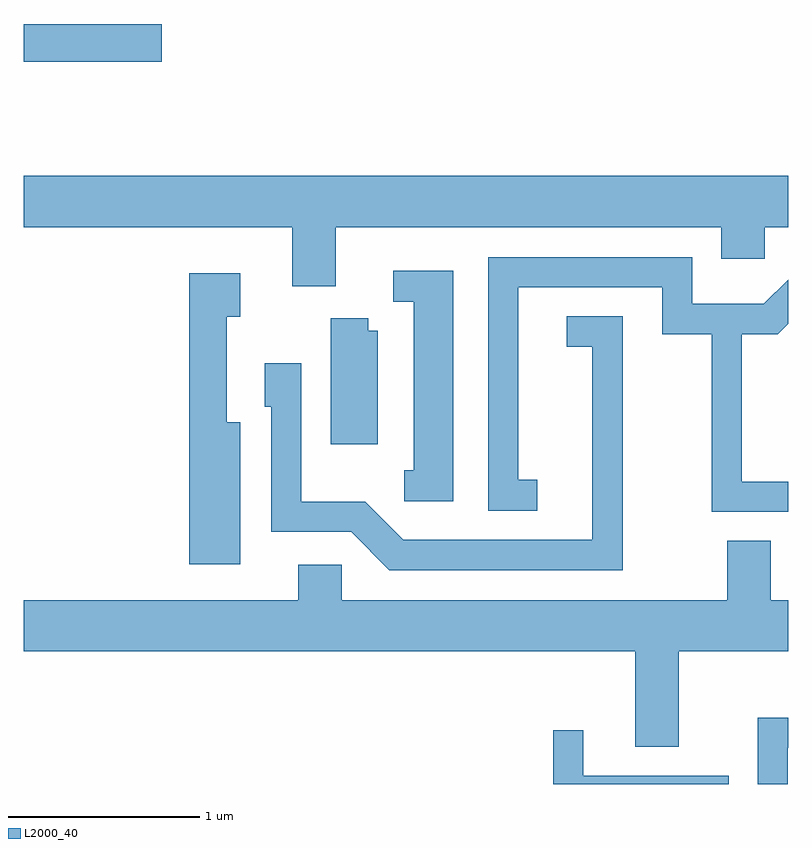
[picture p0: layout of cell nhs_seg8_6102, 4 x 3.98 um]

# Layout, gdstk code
import gdstk
lib = gdstk.Library(unit=1e-6, precision=1e-09)
def R(c, l, rs):  # rectangles x0, y0, x1, y1
    for r in rs: c.add(gdstk.rectangle(r[:2], r[2:], *l))
def P(c, l, *ps):  # polygons
    for p in ps: c.add(gdstk.Polygon(p, *l))
L2000_40 = (2000, 40)

nhs_seg8_6102 = lib.new_cell('nhs_seg8_6102')
R(nhs_seg8_6102, L2000_40, [(367.611,1886.121,368.334,1886.319)])
P(nhs_seg8_6102, L2000_40, [(369.244,1885.256),(371.261,1885.256),(371.261,1885.091),(371.489,1885.091),(371.489,1885.256),(371.611,1885.256),(371.611,1885.524),(367.611,1885.524),(367.611,1885.256),(369.016,1885.256),(369.016,1884.946),(369.244,1884.946)],
  [(371.611,1883.924),(371.369,1883.924),(371.369,1884.696),(371.557,1884.696),(371.611,1884.75),(371.611,1884.981),(371.484,1884.854),(371.109,1884.854),(371.109,1885.099),(370.041,1885.099),(370.041,1883.771),(370.298,1883.771),(370.298,1883.934),(370.199,1883.934),(370.199,1884.941),(370.951,1884.941),(370.951,1884.696),(371.211,1884.696),(371.211,1883.766),(371.611,1883.766)],
  [(369.859,1885.029),(369.543,1885.029),(369.543,1884.866),(369.651,1884.866),(369.651,1883.984),(369.603,1883.984),(369.603,1883.821),(369.859,1883.821)],
  [(368.744,1884.234),(368.674,1884.234),(368.674,1884.786),(368.744,1884.786),(368.744,1885.014),(368.476,1885.014),(368.476,1883.491),(368.744,1883.491)],
  [(370.744,1884.789),(370.453,1884.789),(370.453,1884.631),(370.586,1884.631),(370.586,1883.619),(369.597,1883.619),(369.397,1883.819),(369.064,1883.819),(369.064,1884.544),(368.871,1884.544),(368.871,1884.316),(368.906,1884.316),(368.906,1883.661),(369.324,1883.661),(369.524,1883.461),(370.744,1883.461)],
  [(369.464,1884.714),(369.414,1884.714),(369.414,1884.779),(369.216,1884.779),(369.216,1884.121),(369.464,1884.121)],
  [(371.039,1883.036),(371.611,1883.036),(371.611,1883.304),(371.519,1883.304),(371.519,1883.614),(371.291,1883.614),(371.291,1883.304),(369.274,1883.304),(369.274,1883.489),(369.046,1883.489),(369.046,1883.304),(367.611,1883.304),(367.611,1883.036),(370.811,1883.036),(370.811,1882.536),(371.039,1882.536)],
  [(371.609,1882.531),(371.611,1882.531),(371.611,1882.689),(371.451,1882.689),(371.451,1882.342),(371.609,1882.342)],
  [(371.299,1882.384),(370.539,1882.384),(370.539,1882.623),(370.381,1882.623),(370.381,1882.342),(371.299,1882.342)])

lib.write_gds('nhs_seg8_6102.gds')
